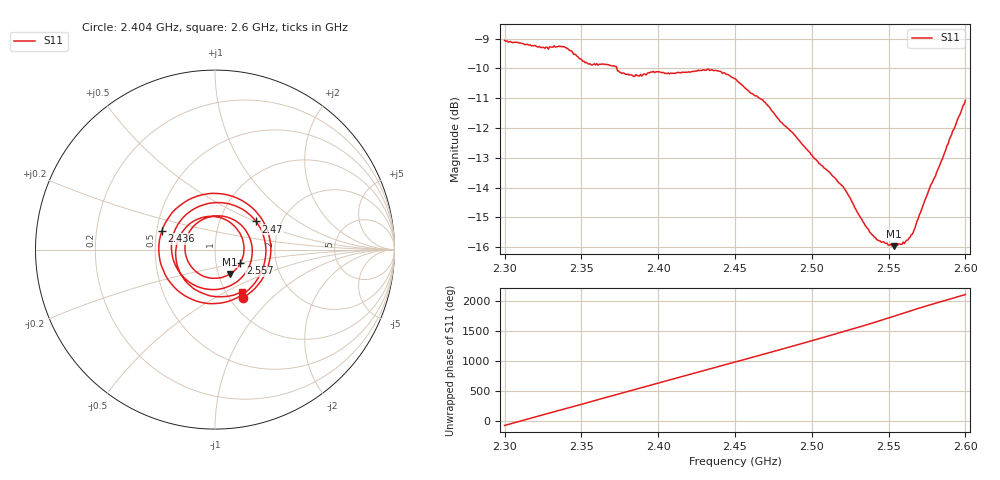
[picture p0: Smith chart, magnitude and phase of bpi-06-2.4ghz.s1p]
! NanoVNA-App
! Date: 2026-05-22 17:55:11
! Start: 2.3GHz Stop: 2.6GHz Points: 401
! S-Parameter data: F S11
# Hz S RI R 50
!  Frequency  S11_Real  S11_Imag
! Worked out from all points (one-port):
!   401 points, 2.3 GHz to 2.6 GHz, reference 50 ohm
!   lowest |S11| = -16.0 dB at 2.554 GHz (marker M1), VSWR 1.38, Z = 56.5 - j15.8 ohm
!   |S11| at or under -10 dB: 2.373 GHz to end of sweep
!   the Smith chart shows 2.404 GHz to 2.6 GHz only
!   S11 on the Smith chart (normalised r, x): 2.404 GHz: 1.15, -0.68; 2.436 GHz: 0.53, +0.12; 2.47 GHz: 1.49, +0.51; 2.557 GHz: 1.31, -0.21; 2.6 GHz: 1.19, -0.61
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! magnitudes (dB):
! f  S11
! 2.3 GHz  -9.1
! 2.325 GHz  -9.3
! 2.337 GHz  -9.3
! 2.342 GHz  -9.4
! 2.353 GHz  -9.8
! 2.371 GHz  -9.9
! 2.375 GHz  -10.1
! 2.385 GHz  -10.2
! 2.395 GHz  -10.1
! 2.404 GHz  -10.2
! 2.413 GHz  -10.1
! 2.436 GHz  -10.1
! 2.45 GHz  -10.4
! 2.47 GHz  -11.1
! 2.479 GHz  -11.8
! 2.487 GHz  -12.2
! 2.501 GHz  -13.0
! 2.52 GHz  -13.9
! 2.525 GHz  -14.4
! 2.533 GHz  -15.1
! 2.539 GHz  -15.6
! 2.544 GHz  -15.8
! 2.554 GHz  -16.0
! 2.557 GHz  -15.9
! 2.562 GHz  -15.8
! 2.567 GHz  -15.4
! 2.576 GHz  -14.1
! 2.6 GHz  -11.1
